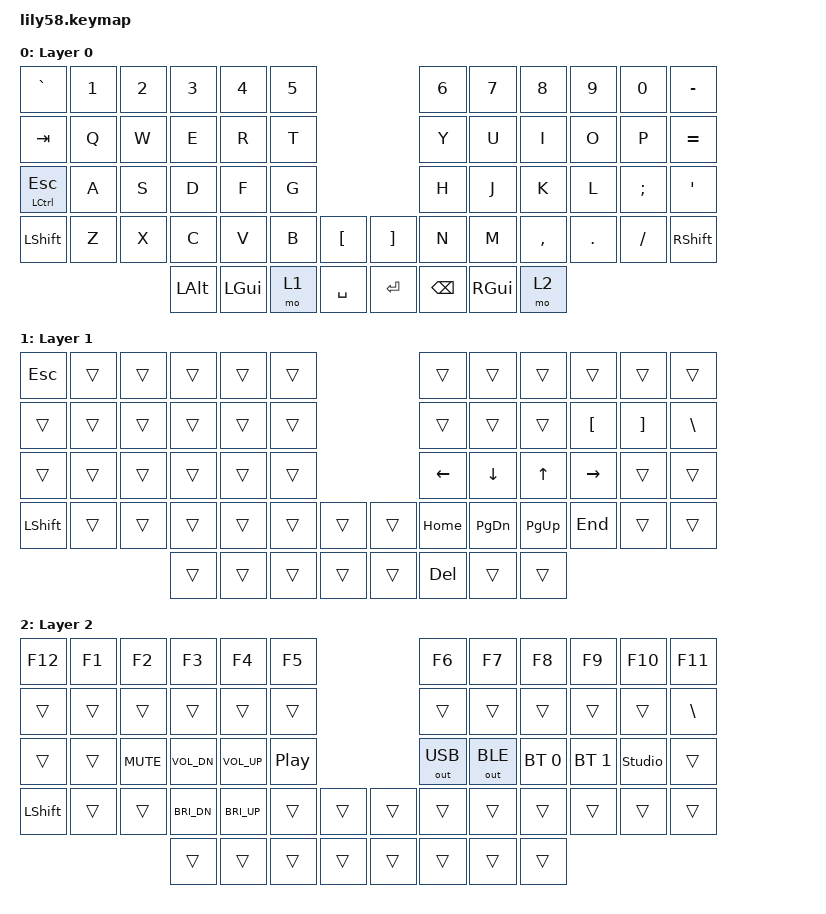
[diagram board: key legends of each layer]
/*
 * Copyright (c) 2020 The ZMK Contributors
 *
 * SPDX-License-Identifier: MIT
 */

#include <behaviors.dtsi>
#include <dt-bindings/zmk/bt.h>
#include <dt-bindings/zmk/keys.h>
#include <dt-bindings/zmk/outputs.h>

&mt {
    flavor = "balanced";
    tapping-term-ms = <180>;
};

/ {
    combos { compatible = "zmk,combos"; };

    keymap {
        compatible = "zmk,keymap";

        layer_0 {
            // ------------------------------------------------------------------------------------------------------------
            // |   `   |  1  |  2  |  3   |  4   |  5   |                   |  6   |  7    |  8    |  9   |   0   |   -   |
            // |  TAB  |  Q  |  W  |  E   |  R   |  T   |                   |  Y   |  U    |  I    |  O   |   P   |   =   |
            // | ^/ESC |  A  |  S  |  D   |  F   |  G   |                   |  H   |  J    |  K    |  L   |   ;   |   '   |
            // | SHIFT |  Z  |  X  |  C   |  V   |  B   |   "["  |  |  "]"  |  N   |  M    |  ,    |  .   |   /   | SHIFT |
            //                     | ALT  | GUI  |  L1  |  SPACE |  | ENTER | BSPC | RGUI  |  L2   |

            display-name = "Layer 0";
            bindings = <
&kp GRAVE                &kp N1  &kp N2  &kp N3        &kp N4        &kp N5                          &kp N6     &kp N7         &kp N8     &kp N9   &kp N0         &kp MINUS
&kp TAB                  &kp Q   &kp W   &kp E         &kp R         &kp T                           &kp Y      &kp U          &kp I      &kp O    &kp P          &kp EQUAL
&mt LEFT_CONTROL ESCAPE  &kp A   &kp S   &kp D         &kp F         &kp G                           &kp H      &kp J          &kp K      &kp L    &kp SEMICOLON  &kp APOS
&kp LSHFT                &kp Z   &kp X   &kp C         &kp V         &kp B   &kp LBKT     &kp RBKT   &kp N      &kp M          &kp COMMA  &kp DOT  &kp FSLH       &kp RSHFT
                                         &kp LEFT_ALT  &kp LEFT_GUI  &mo 1   &kp SPACE    &kp ENTER  &kp BSPC   &kp RIGHT_GUI  &mo 2
            >;
        };

        layer_1 {
            // ------------------------------------------------------------------------------------------------------------
            // |  ESC  |     |     |      |      |      |                   |      |       |       |      |       |       |
            // |       |     |     |      |      |      |                   |      |       |       |  [   |   ]   |   \   |
            // |       |     |     |      |      |      |                   | LEFT | DOWN  |  UP   | RGHT |       |       |
            // | SHIFT |     |     |      |      |      |        |  |       | HOME | PGDN  | PGUP  | END  |       |       |
            //                     |      |      |      |        |  |       | DEL  |       |       |

            display-name = "Layer 1";
            bindings = <
&kp ESCAPE      &trans  &trans  &trans  &trans  &trans                    &trans    &trans         &trans     &trans     &trans    &trans
&trans          &trans  &trans  &trans  &trans  &trans                    &trans    &trans         &trans     &kp LBKT   &kp RBKT  &kp BSLH
&trans          &trans  &trans  &trans  &trans  &trans                    &kp LEFT  &kp DOWN       &kp UP     &kp RIGHT  &trans    &trans
&kp LEFT_SHIFT  &trans  &trans  &trans  &trans  &trans  &trans    &trans  &kp HOME  &kp PAGE_DOWN  &kp PG_UP  &kp END    &trans    &trans
                                &trans  &trans  &trans  &trans    &trans  &kp DEL   &trans         &trans
            >;
        };

        layer_2 {
            // ------------------------------------------------------------------------------------------------------------
            // |  F12  | F1  | F2  |  F3  |  F4  |  F5  |                   |  F6  |  F7   |  F8   |  F9  |  F10  |  F11  |
            // |       |     |     |      |      |      |                   |      |       |       |      |       |   \   |
            // |       |     |MUTE | VOLD | VOLU |  PP  |                   | USB  |  BLE  |  BT0  | BT1  | UNLCK |       |
            // | SHIFT |     |     | BRID | BRIU |      |        |  |       |      |       |       |      |       |       |
            //                     |      |      |      |        |  |       |      |       |       |

            display-name = "Layer 2";
            bindings = <
&kp F12         &kp F1  &kp F2      &kp F3        &kp F4        &kp F5                      &kp F6        &kp F7        &kp F8        &kp F9        &kp F10         &kp F11
&trans          &trans  &trans      &trans        &trans        &trans                      &trans        &trans        &trans        &trans        &trans          &kp BSLH
&trans          &trans  &kp C_MUTE  &kp C_VOL_DN  &kp C_VOL_UP  &kp C_PP                    &out OUT_USB  &out OUT_BLE  &bt BT_SEL 0  &bt BT_SEL 1  &studio_unlock  &trans
&kp LEFT_SHIFT  &trans  &trans      &kp C_BRI_DN  &kp C_BRI_UP  &trans    &trans    &trans  &trans        &trans        &trans        &trans        &trans          &trans
                                    &trans        &trans        &trans    &trans    &trans  &trans        &trans        &trans
            >;
        };
    };
};
